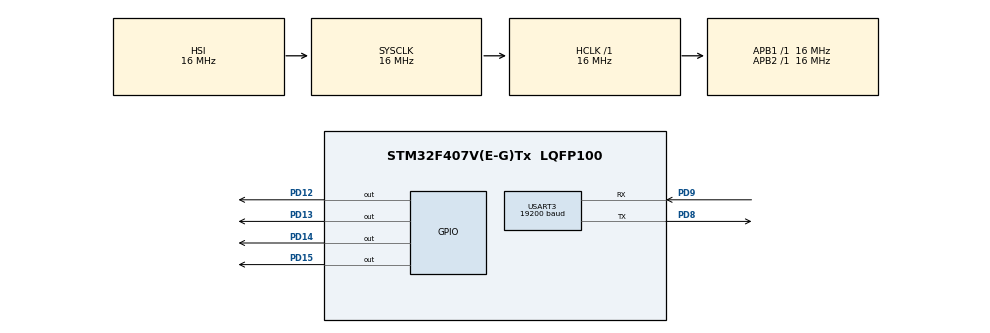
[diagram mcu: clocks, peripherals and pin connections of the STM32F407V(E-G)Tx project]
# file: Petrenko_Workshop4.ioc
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Mcu.Family=STM32F4
Mcu.Name=STM32F407V(E-G)Tx
Mcu.Package=LQFP100
NVIC.PriorityGroup=NVIC_PRIORITYGROUP_4
PD12.Signal=GPIO_Output
PD13.Signal=GPIO_Output
PD14.Signal=GPIO_Output
PD15.Signal=GPIO_Output
PD8.Mode=Asynchronous
PD8.Signal=USART3_TX
PD9.Mode=Asynchronous
PD9.Signal=USART3_RX
ProjectManager.HeapSize=0x200
ProjectManager.StackSize=0x400
ProjectManager.TargetToolchain=STM32CubeIDE
RCC.AHBFreq_Value=16000000
RCC.APB1Freq_Value=16000000
RCC.APB2Freq_Value=16000000
RCC.CortexFreq_Value=16000000
RCC.HSE_VALUE=25000000
RCC.HSI_VALUE=16000000
RCC.LSE_VALUE=32768
RCC.SYSCLKFreq_VALUE=16000000
RCC.VCOOutputFreq_Value=192000000
USART3.BaudRate=19200
USART3.VirtualMode=VM_ASYNC
board=custom

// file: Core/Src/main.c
/* USER CODE BEGIN Header */
/**
  ******************************************************************************
  * @file           : main.c
  * @brief          : Main program body
  ******************************************************************************
  * @attention
  *
  * Copyright (c) 2025 STMicroelectronics.
  * All rights reserved.
  *
  * This software is licensed under terms that can be found in the LICENSE file
  * in the root directory of this software component.
  * If no LICENSE file comes with this software, it is provided AS-IS.
  *
  ******************************************************************************
  */
/* USER CODE END Header */
#include "main.h"

UART_HandleTypeDef huart3;

void SystemClock_Config(void);
static void MX_GPIO_Init(void);
static void MX_USART3_UART_Init(void);

int main(void)
{

  /* MCU Configuration--------------------------------------------------------*/

  /* Reset of all peripherals, Initializes the Flash interface and the Systick. */
  HAL_Init();

  /* Configure the system clock */
  SystemClock_Config();

  /* Initialize all configured peripherals */
  MX_GPIO_Init();
  MX_USART3_UART_Init();

  /* Infinite loop */
  /* USER CODE BEGIN WHILE */
  while (1)
  {
	  uint8_t rcvBuf[1];
	  HAL_StatusTypeDef result;

	  result = HAL_UART_Receive(&huart3, rcvBuf, 1, 10);

	  if (result == HAL_OK)
	  {
	      switch (rcvBuf[0])
	      {
	          case '0':
	              HAL_GPIO_WritePin(GPIOD, GPIO_PIN_15, GPIO_PIN_SET);
	              HAL_UART_Transmit(&huart3, (uint8_t *)" - Blue ON\r\n", 12, 100);
	              break;

	          case '1':
	              HAL_GPIO_WritePin(GPIOD, GPIO_PIN_15, GPIO_PIN_RESET);
	              HAL_UART_Transmit(&huart3, (uint8_t*)" - Blue OFF\r\n", 13, 100);
	              break;

	          case '2':
	              HAL_GPIO_WritePin(GPIOD, GPIO_PIN_14, GPIO_PIN_SET);
	              HAL_UART_Transmit(&huart3, (uint8_t*)" - Red ON\r\n", 11, 100);
	              break;

	          case '3':
	              HAL_GPIO_WritePin(GPIOD, GPIO_PIN_14, GPIO_PIN_RESET);
	              HAL_UART_Transmit(&huart3, (uint8_t*)" - Red OFF\r\n", 12, 100);
	              break;

	          case '4':
	              HAL_GPIO_WritePin(GPIOD, GPIO_PIN_13, GPIO_PIN_SET);
	              HAL_UART_Transmit(&huart3, (uint8_t*)" - Orange ON\r\n", 14, 100);
	              break;

	          case '5':
	              HAL_GPIO_WritePin(GPIOD, GPIO_PIN_13, GPIO_PIN_RESET);
	              HAL_UART_Transmit(&huart3, (uint8_t*)" - Orange OFF\r\n", 15, 100);
	              break;

	          case '6':
	              HAL_GPIO_WritePin(GPIOD, GPIO_PIN_12, GPIO_PIN_SET);
	              HAL_UART_Transmit(&huart3, (uint8_t*)" - Green ON\r\n", 13, 100);
	              break;

	          case '7':
	              HAL_GPIO_WritePin(GPIOD, GPIO_PIN_12, GPIO_PIN_RESET);
	              HAL_UART_Transmit(&huart3, (uint8_t*)" - Green OFF\r\n", 14, 100);
	              break;

	          case '8':
	              HAL_GPIO_WritePin(GPIOD, GPIO_PIN_15, GPIO_PIN_SET);
	              HAL_GPIO_WritePin(GPIOD, GPIO_PIN_14, GPIO_PIN_SET);
	              HAL_GPIO_WritePin(GPIOD, GPIO_PIN_13, GPIO_PIN_SET);
	              HAL_GPIO_WritePin(GPIOD, GPIO_PIN_12, GPIO_PIN_SET);
	              HAL_UART_Transmit(&huart3, (uint8_t*)" - ALL ON\r\n", 11, 100);
	              break;

	          case '9':
	              HAL_GPIO_WritePin(GPIOD, GPIO_PIN_15, GPIO_PIN_RESET);
	              HAL_GPIO_WritePin(GPIOD, GPIO_PIN_14, GPIO_PIN_RESET);
	              HAL_GPIO_WritePin(GPIOD, GPIO_PIN_13, GPIO_PIN_RESET);
	              HAL_GPIO_WritePin(GPIOD, GPIO_PIN_12, GPIO_PIN_RESET);
	              HAL_UART_Transmit(&huart3, (uint8_t*)" - ALL OFF\r\n", 12, 100);
	              break;
	          default:
	              HAL_UART_Transmit(&huart3, (uint8_t *)" - UnexpCmd\r\n", 13, 100);
	              break;
	      }
	  }
    /* USER CODE END WHILE */

  }
}

void SystemClock_Config(void)
{
  RCC_OscInitTypeDef RCC_OscInitStruct = {0};
  RCC_ClkInitTypeDef RCC_ClkInitStruct = {0};

  /** Configure the main internal regulator output voltage
  */
  __HAL_RCC_PWR_CLK_ENABLE();
  __HAL_PWR_VOLTAGESCALING_CONFIG(PWR_REGULATOR_VOLTAGE_SCALE1);

  /** Initializes the RCC Oscillators according to the specified parameters
  * in the RCC_OscInitTypeDef structure.
  */
  RCC_OscInitStruct.OscillatorType = RCC_OSCILLATORTYPE_HSI;
  RCC_OscInitStruct.HSIState = RCC_HSI_ON;
  RCC_OscInitStruct.HSICalibrationValue = RCC_HSICALIBRATION_DEFAULT;
  RCC_OscInitStruct.PLL.PLLState = RCC_PLL_NONE;
  if (HAL_RCC_OscConfig(&RCC_OscInitStruct) != HAL_OK)
  {
    Error_Handler();
  }

  /** Initializes the CPU, AHB and APB buses clocks
  */
  RCC_ClkInitStruct.ClockType = RCC_CLOCKTYPE_HCLK|RCC_CLOCKTYPE_SYSCLK
                              |RCC_CLOCKTYPE_PCLK1|RCC_CLOCKTYPE_PCLK2;
  RCC_ClkInitStruct.SYSCLKSource = RCC_SYSCLKSOURCE_HSI;
  RCC_ClkInitStruct.AHBCLKDivider = RCC_SYSCLK_DIV1;
  RCC_ClkInitStruct.APB1CLKDivider = RCC_HCLK_DIV1;
  RCC_ClkInitStruct.APB2CLKDivider = RCC_HCLK_DIV1;

  if (HAL_RCC_ClockConfig(&RCC_ClkInitStruct, FLASH_LATENCY_0) != HAL_OK)
  {
    Error_Handler();
  }
}

static void MX_USART3_UART_Init(void)
{

  huart3.Instance = USART3;
  huart3.Init.BaudRate = 19200;
  huart3.Init.WordLength = UART_WORDLENGTH_8B;
  huart3.Init.StopBits = UART_STOPBITS_1;
  huart3.Init.Parity = UART_PARITY_NONE;
  huart3.Init.Mode = UART_MODE_TX_RX;
  huart3.Init.HwFlowCtl = UART_HWCONTROL_NONE;
  huart3.Init.OverSampling = UART_OVERSAMPLING_16;
  if (HAL_UART_Init(&huart3) != HAL_OK)
  {
    Error_Handler();
  }

}

static void MX_GPIO_Init(void)
{
  GPIO_InitTypeDef GPIO_InitStruct = {0};

  /* GPIO Ports Clock Enable */
  __HAL_RCC_GPIOD_CLK_ENABLE();

  /*Configure GPIO pin Output Level */
  HAL_GPIO_WritePin(GPIOD, GPIO_PIN_12|GPIO_PIN_13|GPIO_PIN_14|GPIO_PIN_15, GPIO_PIN_RESET);

  /*Configure GPIO pins : PD12 PD13 PD14 PD15 */
  GPIO_InitStruct.Pin = GPIO_PIN_12|GPIO_PIN_13|GPIO_PIN_14|GPIO_PIN_15;
  GPIO_InitStruct.Mode = GPIO_MODE_OUTPUT_PP;
  GPIO_InitStruct.Pull = GPIO_NOPULL;
  GPIO_InitStruct.Speed = GPIO_SPEED_FREQ_LOW;
  HAL_GPIO_Init(GPIOD, &GPIO_InitStruct);

}

void Error_Handler(void)
{
  __disable_irq();
  while (1)
  {
  }
}
